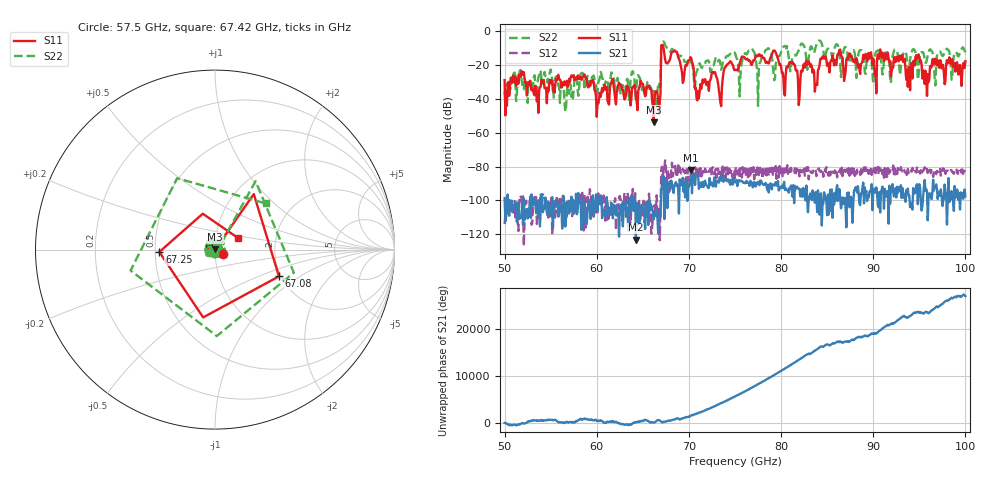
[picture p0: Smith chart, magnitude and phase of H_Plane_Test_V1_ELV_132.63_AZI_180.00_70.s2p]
! 11/27/2026 8:48:44 AM
! C:\ANRITSUVNA\TEMP\TEMP.S2P
! CHANNEL.1
! TR.MEASUREMENT
! RAW.DATA
# HZ S RI R 50.0
! FREQ.HZ  S11RE  S11IM  S21RE  S21IM  S12RE  S12IM  S22RE  S22IM
!; PortSelection: Port_12
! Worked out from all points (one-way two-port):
!   601 points, 50 GHz to 100 GHz, reference 50 ohm
!   highest |S21| = -82.23 dB at 70.25 GHz (marker M1); lowest = -123.1 dB at 64.25 GHz (marker M2)
!   lowest |S11| = -53.9 dB at 66.17 GHz (marker M3), VSWR 1.00, Z = 50.1 + j0.146 ohm
!   |S11| at or under -10 dB: start of sweep to 67 GHz; 67.24 GHz to end of sweep
!   |S22| runs from -47.7 to -5.6 dB; largest |S21 - S12| = 0.00015
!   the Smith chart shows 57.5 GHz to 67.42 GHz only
!   S11 on the Smith chart (normalised r, x): 57.5 GHz: 1.09, -0.05; 67.08 GHz: 1.95, -0.68; 67.25 GHz: 0.53, -0.02; 67.42 GHz: 1.29, +0.17
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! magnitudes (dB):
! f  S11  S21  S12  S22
! 50 GHz  -29.0  -98.6  -114.0  -35.8
! 51.67 GHz  -26.2  -110.6  -97.0  -23.2
! 53.42 GHz  -34.8  -107.4  -98.1  -35.4
! 57.5 GHz  -26.1  -107.9  -102.9  -34.5
! 58.42 GHz  -27.1  -98.8  -94.4  -24.7
! 60.17 GHz  -42.7  -98.4  -95.8  -30.2
! 64.25 GHz  -38.2  -123.1  -108.3  -41.9
! 66.17 GHz  -53.9  -111.3  -111.0  -34.0
! 66.67 GHz  -41.8  -119.3  -110.2  -31.6
! 67.08 GHz  -8.3  -90.2  -80.1  -6.8
! 67.25 GHz  -10.2  -85.7  -80.0  -6.3
! 67.42 GHz  -16.8  -87.3  -76.4  -8.4
! 70.25 GHz  -15.9  -82.2  -83.2  -18.8
! 70.92 GHz  -40.9  -84.3  -81.8  -23.0
! 75 GHz  -23.1  -89.3  -87.7  -13.0
! 79.25 GHz  -11.4  -90.6  -83.1  -29.0
! 80.25 GHz  -27.9  -91.1  -81.2  -9.3
! 83.42 GHz  -24.6  -94.1  -83.9  -10.9
! 91.67 GHz  -16.6  -113.7  -85.3  -15.3
! 94.83 GHz  -14.9  -102.2  -83.2  -28.7
! 95.83 GHz  -38.3  -94.4  -81.4  -16.6
! 100 GHz  -17.8  -97.7  -82.2  -12.6
